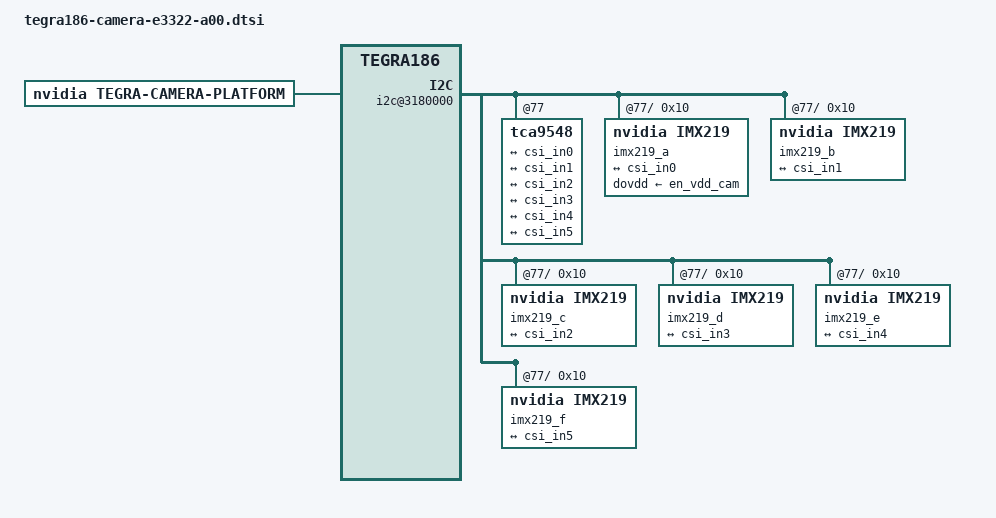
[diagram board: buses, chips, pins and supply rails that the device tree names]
/*
 * Copyright (c) 2015-2016, NVIDIA CORPORATION.  All rights reserved.
 *
 * This program is free software; you can redistribute it and/or modify
 * it under the terms of the GNU General Public License as published by
 * the Free Software Foundation; either version 2 of the License, or
 * (at your option) any later version.
 *
 * This program is distributed in the hope that it will be useful, but WITHOUT
 * ANY WARRANTY; without even the implied warranty of MERCHANTABILITY or
 * FITNESS FOR A PARTICULAR PURPOSE.  See the GNU General Public License for
 * more details.
 *
 * You should have received a copy of the GNU General Public License
 * along with this program.  If not, see <http://www.gnu.org/licenses/>.
 */

#include <dt-bindings/media/camera.h>
#include <dt-bindings/platform/t210/t210.h>

/* camera control gpio definitions */
/ {
	host1x {
		vi@15700000 {
			num-channels = <6>;
			ports {
				#address-cells = <1>;
				#size-cells = <0>;
				port@0 {
					reg = <0>;
					vi_in0: endpoint {
						remote-endpoint = <&csi_out0>;
					};
				};
				port@1 {
					reg = <1>;
					vi_in1: endpoint {
						remote-endpoint = <&csi_out1>;
					};
				};
				port@2 {
					reg = <2>;
					vi_in2: endpoint {
						remote-endpoint = <&csi_out2>;
					};
				};
				port@3 {
					reg = <3>;
					vi_in3: endpoint {
						remote-endpoint = <&csi_out3>;
					};
				};
				port@4 {
					reg = <4>;
					vi_in4: endpoint {
						remote-endpoint = <&csi_out4>;
					};
				};
				port@5 {
					reg = <5>;
					vi_in5: endpoint {
						remote-endpoint = <&csi_out5>;
					};
				};
			};
		};

		nvcsi@150c0000 {
			ports {
				#address-cells = <1>;
				#size-cells = <0>;
				port@0 {
					reg = <0>;
					csi_in0: endpoint@0 {
						bus-width = <2>;
						remote-endpoint = <&imx219_out0>;
					};
				};
				port@1 {
					reg = <1>;
					csi_out0: endpoint@1 {
						remote-endpoint = <&vi_in0>;
					};
				};
				port@2 {
					reg = <2>;
					csi_in1: endpoint@2 {
						bus-width = <2>;
						remote-endpoint = <&imx219_out1>;
					};
				};
				port@3 {
					reg = <3>;
					csi_out1: endpoint@3 {
						remote-endpoint = <&vi_in1>;
					};
				};
				port@4 {
					reg = <4>;
					csi_in2: endpoint@4 {
						bus-width = <2>;
						remote-endpoint = <&imx219_out2>;
					};
				};
				port@5 {
					reg = <5>;
					csi_out2: endpoint@5 {
						remote-endpoint = <&vi_in2>;
					};
				};
				port@6 {
					reg = <6>;
					csi_in3: endpoint@6 {
						bus-width = <2>;
						remote-endpoint = <&imx219_out3>;
					};
				};
				port@7 {
					reg = <7>;
					csi_out3: endpoint@7 {
						remote-endpoint = <&vi_in3>;
					};
				};
				port@8 {
					reg = <8>;
					csi_in4: endpoint@8 {
						bus-width = <2>;
						remote-endpoint = <&imx219_out4>;
					};
				};
				port@9 {
					reg = <9>;
					csi_out4: endpoint@9 {
						remote-endpoint = <&vi_in4>;
					};
				};
				port@10 {
					reg = <10>;
					csi_in5: endpoint@10 {
						bus-width = <2>;
						remote-endpoint = <&imx219_out5>;
					};
				};
				port@11 {
					reg = <11>;
					csi_out5: endpoint@11 {
						remote-endpoint = <&vi_in5>;
					};
				};
			};
		};
	};

	i2c@3180000 {
		tca9548@77 {
			i2c@0 {
				imx219_a@10 {
					compatible = "nvidia,imx219";
					reg = <0x10>;

					physical_w = "5.095";
					physical_h = "4.930";

					sensor_model ="imx219";
					dovdd-supply = <&en_vdd_cam>;
					avdd-reg = "vana";
					dvdd-reg = "vdig";
					iovdd-reg = "dovdd";
					devnode = "video0";

					mode0 { // IMX219_MODE_3280X2464
						mclk_khz = "24000";
						num_lanes = "2";
						tegra_sinterface = "serial_a";
						discontinuous_clk = "yes";
						cil_settletime = "0";
						active_w = "3280";
						active_h = "2464";
						pixel_t = "bayer_rggb";
						readout_orientation = "90";
						line_length = "3448";
						inherent_gain = "1";
						mclk_multiplier = "25";
						pix_clk_hz = "224000000";

						min_gain_val = "1.0";
						max_gain_val = "16.0";
						min_hdr_ratio = "1";
						max_hdr_ratio = "64";
						min_framerate = "1.462526";
						max_framerate = "21";
						min_exp_time = "13";
						max_exp_time = "683709";
					};
					ports {
						#address-cells = <1>;
						#size-cells = <0>;

						port@0 {
							reg = <0>;
							imx219_out0: endpoint {
								csi-port = <0>;
								bus-width = <2>;
								remote-endpoint = <&csi_in0>;
							};
						};
					};
				};
			};
			i2c@1 {
				imx219_b@10 {
					compatible = "nvidia,imx219";
					reg = <0x10>;

					physical_w = "5.095";
					physical_h = "4.930";

					sensor_model ="imx219";
					avdd-reg = "vana";
					dvdd-reg = "vdig";
					iovdd-reg = "dovdd";
					devnode = "video1";

					mode0 { // IMX219_MODE_3280X2464
						mclk_khz = "24000";
						num_lanes = "2";
						tegra_sinterface = "serial_b";
						discontinuous_clk = "yes";
						cil_settletime = "0";

						active_w = "3280";
						active_h = "2464";
						pixel_t = "bayer_rggb";
						readout_orientation = "90";
						line_length = "3448";
						inherent_gain = "1";
						mclk_multiplier = "25";
						pix_clk_hz = "224000000";

						min_gain_val = "1.0";
						max_gain_val = "16.0";
						min_hdr_ratio = "1";
						max_hdr_ratio = "64";
						min_framerate = "1.462526";
						max_framerate = "21";
						min_exp_time = "13";
						max_exp_time = "683709";
					};
					ports {
						#address-cells = <1>;
						#size-cells = <0>;

						port@0 {
							reg = <0>;
							imx219_out1: endpoint {
								csi-port = <1>;
								bus-width = <2>;
								remote-endpoint = <&csi_in1>;
							};
						};
					};
				};
			};
			i2c@2 {
				imx219_c@10 {
					compatible = "nvidia,imx219";
					reg = <0x10>;

					physical_w = "5.095";
					physical_h = "4.930";

					sensor_model ="imx219";
					avdd-reg = "vana";
					dvdd-reg = "vdig";
					iovdd-reg = "dovdd";
					devnode = "video2";

					mode0 { // IMX219_MODE_3280X2464
						mclk_khz = "24000";
						num_lanes = "2";
						tegra_sinterface = "serial_c";
						discontinuous_clk = "yes";
						cil_settletime = "0";

						active_w = "3280";
						active_h = "2464";
						pixel_t = "bayer_rggb";
						readout_orientation = "90";
						line_length = "3448";
						inherent_gain = "1";
						mclk_multiplier = "25";
						pix_clk_hz = "224000000";

						min_gain_val = "1.0";
						max_gain_val = "16.0";
						min_hdr_ratio = "1";
						max_hdr_ratio = "64";
						min_framerate = "1.462526";
						max_framerate = "21";
						min_exp_time = "13";
						max_exp_time = "683709";
					};
					ports {
						#address-cells = <1>;
						#size-cells = <0>;

						port@0 {
							reg = <0>;
							imx219_out2: endpoint {
								csi-port = <2>;
								bus-width = <2>;
								remote-endpoint = <&csi_in2>;
							};
						};
					};
				};
			};
			i2c@3 {
				imx219_d@10 {
					compatible = "nvidia,imx219";
					reg = <0x10>;

					physical_w = "5.095";
					physical_h = "4.930";

					sensor_model ="imx219";
					avdd-reg = "vana";
					dvdd-reg = "vdig";
					iovdd-reg = "dovdd";
					devnode = "video3";

					mode0 { // IMX219_MODE_3280X2464
						mclk_khz = "24000";
						num_lanes = "2";
						tegra_sinterface = "serial_d";
						discontinuous_clk = "yes";
						cil_settletime = "0";

						active_w = "3280";
						active_h = "2464";
						pixel_t = "bayer_rggb";
						readout_orientation = "90";
						line_length = "3448";
						inherent_gain = "1";
						mclk_multiplier = "25";
						pix_clk_hz = "224000000";

						min_gain_val = "1.0";
						max_gain_val = "16.0";
						min_hdr_ratio = "1";
						max_hdr_ratio = "64";
						min_framerate = "1.462526";
						max_framerate = "21";
						min_exp_time = "13";
						max_exp_time = "683709";
					};
					ports {
						#address-cells = <1>;
						#size-cells = <0>;

						port@0 {
							reg = <0>;
							imx219_out3: endpoint {
								csi-port = <3>;
								bus-width = <2>;
								remote-endpoint = <&csi_in3>;
							};
						};
					};
				};
			};
			i2c@4 {
				imx219_e@10 {
					compatible = "nvidia,imx219";
					reg = <0x10>;

					physical_w = "5.095";
					physical_h = "4.930";

					sensor_model ="imx219";
					avdd-reg = "vana";
					dvdd-reg = "vdig";
					iovdd-reg = "dovdd";
					devnode = "video4";

					mode0 { // IMX219_MODE_3280X2464
						mclk_khz = "24000";
						num_lanes = "2";
						tegra_sinterface = "serial_e";
						discontinuous_clk = "yes";
						cil_settletime = "0";

						active_w = "3280";
						active_h = "2464";
						pixel_t = "bayer_rggb";
						readout_orientation = "90";
						line_length = "3448";
						inherent_gain = "1";
						mclk_multiplier = "25";
						pix_clk_hz = "224000000";

						min_gain_val = "1.0";
						max_gain_val = "16.0";
						min_hdr_ratio = "1";
						max_hdr_ratio = "64";
						min_framerate = "1.462526";
						max_framerate = "21";
						min_exp_time = "13";
						max_exp_time = "683709";
					};
					ports {
						#address-cells = <1>;
						#size-cells = <0>;

						port@0 {
							reg = <0>;
							imx219_out4: endpoint {
								csi-port = <4>;
								bus-width = <2>;
								remote-endpoint = <&csi_in4>;
							};
						};
					};
				};
			};
			i2c@5 {
				imx219_f@10 {
					compatible = "nvidia,imx219";
					reg = <0x10>;

					physical_w = "5.095";
					physical_h = "4.930";

					sensor_model ="imx219";
					avdd-reg = "vana";
					dvdd-reg = "vdig";
					iovdd-reg = "dovdd";
					devnode = "video5";

					mode0 { // IMX219_MODE_3280X2464
						mclk_khz = "24000";
						num_lanes = "2";
						tegra_sinterface = "serial_f";
						discontinuous_clk = "yes";
						cil_settletime = "0";

						active_w = "3280";
						active_h = "2464";
						pixel_t = "bayer_rggb";
						readout_orientation = "90";
						line_length = "3448";
						inherent_gain = "1";
						mclk_multiplier = "25";
						pix_clk_hz = "224000000";

						min_gain_val = "1.0";
						max_gain_val = "16.0";
						min_hdr_ratio = "1";
						max_hdr_ratio = "64";
						min_framerate = "1.462526";
						max_framerate = "21";
						min_exp_time = "13";
						max_exp_time = "683709";
					};
					ports {
						#address-cells = <1>;
						#size-cells = <0>;

						port@0 {
							reg = <0>;
							imx219_out5: endpoint {
								csi-port = <5>;
								bus-width = <2>;
								remote-endpoint = <&csi_in5>;
							};
						};
					};
				};
			};
		};
	};
};

/* camera control gpio definitions */
/ {

	tegra-camera-platform {
		compatible = "nvidia, tegra-camera-platform";

		/**
		* Physical settings to calculate max ISO BW
		*
		* num_csi_lanes = <>;
		* Total number of CSI lanes when all cameras are active
		*
		* max_lane_speed = <>;
		* Max lane speed in Kbit/s
		*
		* min_bits_per_pixel = <>;
		* Min bits per pixel
		*
		* vi_peak_byte_per_pixel = <>;
		* Max byte per pixel for the VI ISO case
		*
		* vi_bw_margin_pct = <>;
		* Vi bandwidth margin in percentage
		*
		* max_pixel_rate = <>;
		* Max pixel rate in Kpixel/s for the ISP ISO case
		*
		* isp_peak_byte_per_pixel = <>;
		* Max byte per pixel for the ISP ISO case
		*
		* isp_bw_margin_pct = <>;
		* Isp bandwidth margin in percentage
		*/
		num_csi_lanes = <12>;
		max_lane_speed = <1500000>;
		min_bits_per_pixel = <10>;
		vi_peak_byte_per_pixel = <2>;
		vi_bw_margin_pct = <25>;
		isp_peak_byte_per_pixel = <5>;
		isp_bw_margin_pct = <25>;

		/**
		 * The general guideline for naming badge_info contains 3 parts, and is as follows,
		 * The first part is the camera_board_id for the module; if the module is in a FFD
		 * platform, then use the platform name for this part.
		 * The second part contains the position of the module, ex. “rear” or “front”.
		 * The third part contains the last 6 characters of a part number which is found
		 * in the module's specsheet from the vender.
		 */
		modules {
			module0 {
				badge = "e3322_bottomleft_A815P2";
				position = "bottomleft";
				orientation = "1";
				drivernode0 {
					pcl_id = "v4l2_sensor";
					proc-device-tree = "/proc/device-tree/i2c@3180000/tca9548@77/i2c@0/imx219_a@10";
				};
			};
			module1 {
				badge = "e3322_centerleft_A815P2";
				position = "centerleft";
				orientation = "1";
				drivernode0 {
					pcl_id = "v4l2_sensor";
					proc-device-tree = "/proc/device-tree/i2c@3180000/tca9548@77/i2c@1/imx219_b@10";
				};
			};
			module2 {
				badge = "e3322_centerright_A815P2";
				position = "centerright";
				orientation = "1";
				drivernode0 {
					pcl_id = "v4l2_sensor";
					proc-device-tree = "/proc/device-tree/i2c@3180000/tca9548@77/i2c@2/imx219_c@10";
				};
			};
			module3 {
				badge = "e3322_topleft_A815P2";
				position = "topleft";
				orientation = "1";
				drivernode0 {
					pcl_id = "v4l2_sensor";
					proc-device-tree = "/proc/device-tree/i2c@3180000/tca9548@77/i2c@3/imx219_d@10";
				};
			};
			module4 {
				badge = "e3322_bottomright_A815P2";
				position = "bottomright";
				orientation = "1";
				drivernode0 {
					pcl_id = "v4l2_sensor";
					proc-device-tree = "/proc/device-tree/i2c@3180000/tca9548@77/i2c@4/imx219_e@10";
				};
			};
			module5 {
				badge = "e3322_topright_A815P2";
				position = "topright";
				orientation = "1";
				drivernode0 {
					pcl_id = "v4l2_sensor";
					proc-device-tree = "/proc/device-tree/i2c@3180000/tca9548@77/i2c@5/imx219_f@10";
				};
			};
		};
	};
};
